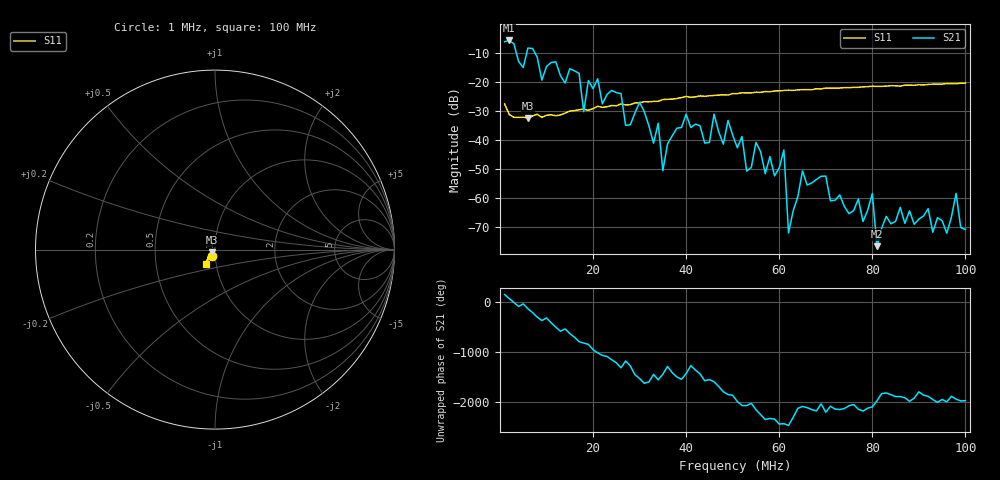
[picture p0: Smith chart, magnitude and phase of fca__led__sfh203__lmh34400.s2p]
# HZ S RI R 50
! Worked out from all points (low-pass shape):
!   100 points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, 1 MHz to 100 MHz, reference 50 ohm
!   highest |S21| = -5.85 dB at 2 MHz (marker M1); lowest = -76.5 dB at 81 MHz (marker M2)
!   |S21| within 3 dB of the highest: start of sweep to 3.307 MHz; 5.94 MHz to 7.083 MHz (1.143 MHz wide, 17.5 % of centre)
!   lowest |S11| = -32.5 dB at 6 MHz (marker M3), VSWR 1.05, Z = 48.1 - j1.36 ohm
!   |S11| at or under -10 dB: start of sweep to end of sweep
!   S12 and S22 are empty: the file has one direction only
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1000001  -0.0176 -0.0374  -0.4388 0.2068  0 0  0 0
2000001  -0.0187 -0.0198  0.1448 0.489  0 0  0 0
6000001  -0.0189 -0.0141  -0.2461 -0.2869  0 0  0 0
8000001  -0.0238 -0.0137  0.1268 0.2324  0 0  0 0
1.7e7  -0.0232 -0.0232  0.0413 -0.1323  0 0  0 0
1.8e7  -0.0246 -0.0233  -0.00538 -0.0299  0 0  0 0
2.1e7  -0.0287 -0.0245  0.0506 0.1  0 0  0 0
3.4e7  -0.0282 -0.0361  -0.00923 -0.017  0 0  0 0
3.5e7  -0.0302 -0.0388  0.00294 -0.000251  0 0  0 0
4e7  -0.0364 -0.0423  0.0274 0.00322  0 0  0 0
5.1e7  -0.0362 -0.0505  -0.00714 0.00154  0 0  0 0
6.1e7  -0.0406 -0.0577  0.000902 0.00663  0 0  0 0
6.2e7  -0.0417 -0.0578  0.000173 0.000182  0 0  0 0
6.5e7  -0.0426 -0.059  0.00111 0.0027  0 0  0 0
6.7e7  -0.0437 -0.0579  0.00181 0.000165  0 0  0 0
7.8e7  -0.0472 -0.0661  0.000357 -0.000167  0 0  0 0
8e7  -0.0484 -0.0681  0.000605 0.00103  0 0  0 0
8.1e7  -0.0481 -0.0674  -0.000149 -4.26e-06  0 0  0 0
8.4e7  -0.0496 -0.0693  0.000205 -0.000297  0 0  0 0
9.6e7  -0.0519 -0.0764  -0.000233 8.48e-05  0 0  0 0
9.8e7  -0.0516 -0.0764  -0.00099 -0.000679  0 0  0 0
1e8  -0.0528 -0.0787  -0.000288 -1.44e-05  0 0  0 0
